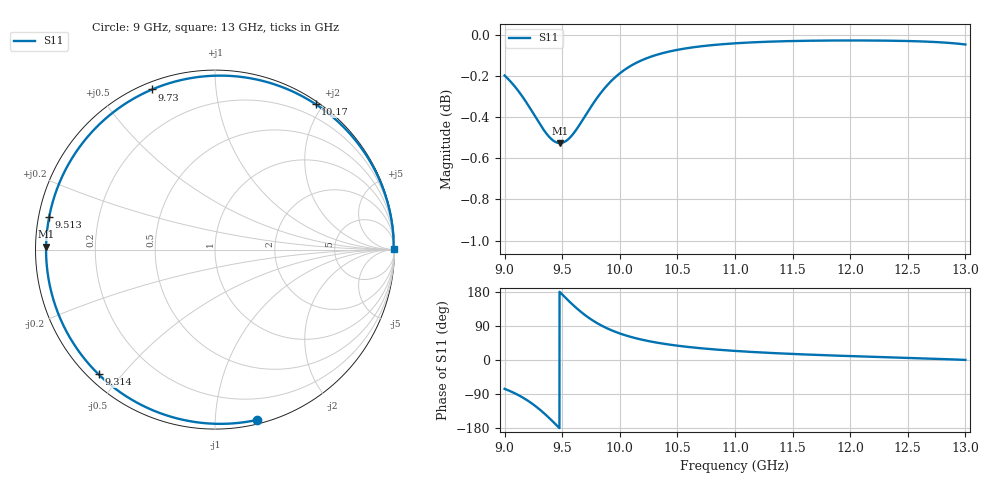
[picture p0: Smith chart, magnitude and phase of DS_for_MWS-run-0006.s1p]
! TOUCHSTONE file generated by CST DESIGN STUDIO
! Date and time: Tue Feb  4 14:20:52 2025
! Project name: C:\Work\MatlabApps\UnitCellOptimizationMatlab\CST\unitcell.cst
! Tree item: Tasks\Sweep1\SPara1\S-Parameters
! Header version: 2024
! Port assignment regex: !\s*Touchstone port\s*([0-9]+)\s*=\s*(CST MWS port|CST DES external port|CST DES block port)\s*(.+)\s* \(\"(.*)\"\)(\s*mode\s*([0-9]+))?.*
! Touchstone port assignment:
! Touchstone port 1 = CST DES external port 1 ("")
# GHz S MA R 50
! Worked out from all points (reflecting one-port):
!   4001 points, 9 GHz to 13 GHz, reference 50 ohm
!   lowest |S11| = -0.5 dB at 9.48 GHz (marker M1), VSWR 33.03, Z = 1.51 + j0.417 ohm
!   phase of S11 starts at -76 deg and turns -284 deg over the sweep
!   S11 on the Smith chart (normalised r, x): 9 GHz: 0.03, -1.28; 9.314 GHz: 0.03, -0.43; 9.513 GHz: 0.03, +0.10; 9.73 GHz: 0.03, +0.68; 10.17 GHz: 0.03, +1.91; 13 GHz: open
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9  0.9775 -76.1
9.081  0.9721 -86.7
9.18  0.9637 -103.2
9.25  0.9569 -117.6
9.314  0.9506 -133.0
9.358  0.9467 -144.8
9.404  0.9435 -158.0
9.443  0.9418 -169.7
9.48  0.9412 179.0
9.5  0.9414 172.9
9.513  0.9417 169.0
9.565  0.944 153.4
9.625  0.9486 136.7
9.677  0.9534 123.5
9.73  0.9586 111.5
9.783  0.9636 100.9
9.843  0.9687 90.6
9.92  0.9742 79.5
10  0.9787 70.0
10.168  0.9852 55.3
10.319  0.9889 46.0
10.5  0.9917 37.8
10.722  0.9937 30.5
11  0.9953 24.0
11.5  0.9966 16.0
12  0.9969 10.3
12.5  0.9966 5.5
13  0.9946 0.2
